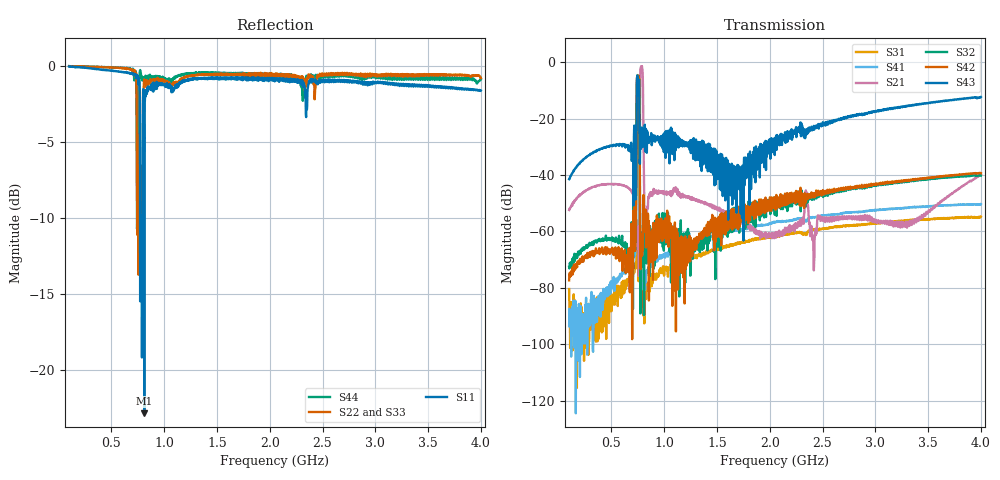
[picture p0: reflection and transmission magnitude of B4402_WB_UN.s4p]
! Matrix data file written by TouchstoneData, EPCOS AG
! FILENAME: "ptable_B4402_02_WB.s4p"
! COMMENT: "(B4402_02_WB.s4p) Epcos AG 1/18/2013 10:00:5"
! INFO: nport=4, nfreq=1601
! DATE: "Mon Feb 11 14:00:04 2013"
! USER: "Michael Schemies"
! port | pin | signal
!  1  |  3  |  Tx
!  2  |  6  |  Ant
!  3  |  8  |  Rx
!  4  |  1  |  Rx
# MHZ S RI R 50
! freq  reS11 imS11  reS12 imS12  reS13 imS13  reS14 imS14  ...
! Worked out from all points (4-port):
!   1601 points, 100 MHz to 4 GHz, reference 50 ohm
!   strongest paths, dB at 100 MHz, 1.075 GHz, 2.05 GHz, 3.025 GHz, 4 GHz:
!     S43: -41.5, -25.4, -27.7, -17.1, -12.4
!     S42: -77.3, -70.2, -50.8, -43.0, -39.4
!     S32: -72.6, -61.1, -50.1, -43.3, -40.2
!     S21: -52.4, -46.1, -60.9, -56.3, -39.9
!     S41: -93.6, -68.4, -56.7, -52.4, -50.3
!     S31: -80.4, -72.6, -61.6, -57.0, -54.8
!   lowest |S11| = -22.8 dB at 811.8 MHz (marker M1), VSWR 1.16, Z = 46.6 - j6.09 ohm
!   |S11| at or under -10 dB: 771.7 MHz to 778.1 MHz (6.383 MHz wide, 0.824 % of centre); 780.2 MHz to 793.5 MHz (13.33 MHz wide, 1.69 % of centre); 810.0264 MHz to 813.5903 MHz (3.564 MHz wide, 0.439 % of centre)
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100  0.9083 -0.4106  0.000741 0.00226  -3.17e-05 6.95e-05  -9.67e-06 8.95e-06
     0.000727 0.00228  0.9789 -0.199  2.27e-05 0.000194  2.93e-05 0.000158
     -2.43e-05 9.2e-05  2.01e-05 0.000235  0.9906 -0.1276  0.00128 0.00836
     -1.31e-05 1.62e-05  3.19e-05 0.000132  0.00123 0.00834  0.9909 -0.1275
665.5  -0.5554 -0.7677  0.00583 -0.000845  -0.000133 2.5e-07  -0.000274 4.15e-05
       0.00579 -0.000848  0.1688 -0.9662  0.000252 0.000383  0.000299 -0.000106
       -0.000126 1.45e-05  0.000222 0.000395  0.5574 -0.8056  0.021 0.0168
       -0.000253 1.63e-05  0.000286 -0.000101  0.021 0.0168  0.5647 -0.8034
750.8125  -0.8688 -0.297  0.000844 0.000734  0.000204 0.000496  -0.000756 -4.44e-06
          0.000856 0.000727  -0.0919 -0.3837  0.5045 0.2665  -0.5008 -0.246
          0.000215 0.000517  0.5053 0.2658  0.1759 -0.4501  -0.1845 -0.3538
          -0.000748 9.85e-06  -0.5001 -0.2458  -0.1842 -0.3538  0.1378 -0.4781
787.375  -0.0192 -0.2324  0.8257 -0.0733  -0.000394 -0.000166  0.000571 0.000734
         0.8278 -0.0737  0.027 -0.2852  -0.000787 1.26e-05  0.000644 0.000598
         -0.000403 -0.000163  -0.000777 2.14e-05  0.8122 -0.4484  0.0252 0.0649
         0.000552 0.000697  0.000672 0.000602  0.0252 0.0647  0.8096 -0.4495
811.75  -0.0316 -0.0651  0.000638 -0.0024  -5.83e-06 3.81e-05  -7.73e-05 5.93e-05
        0.000653 -0.00239  0.7575 -0.4925  0.00026 -0.000407  0.00161 0.00146
        2.34e-05 2.05e-06  0.000268 -0.000424  0.6824 -0.5875  0.0203 0.0431
        -9.84e-05 8.26e-05  0.00161 0.00148  0.0204 0.0431  0.692 -0.5643
2420.5  -0.894 -0.0339  0.000269 -2.37e-05  -0.000595 0.000895  -0.000943 0.0015
        0.000288 -1.95e-05  -0.6962 -0.5492  -0.00268 0.00244  -0.00276 0.00334
        -0.000595 0.000869  -0.00272 0.00247  -0.3124 -0.8612  -0.0523 0.0359
        -0.000941 0.00149  -0.00277 0.00335  -0.052 0.0361  -0.3172 -0.8587
4000  -0.6549 0.5118  -0.00755 -0.00678  0.00031 0.0018  0.000207 0.00303
      -0.00775 -0.00658  -0.8824 -0.2335  -0.00279 0.00938  -0.00217 0.0106
      0.000322 0.0018  -0.00295 0.00928  -0.6766 -0.5981  -0.1389 0.1959
      0.000238 0.00303  -0.00239 0.0105  -0.1396 0.1961  -0.7428 -0.5148
